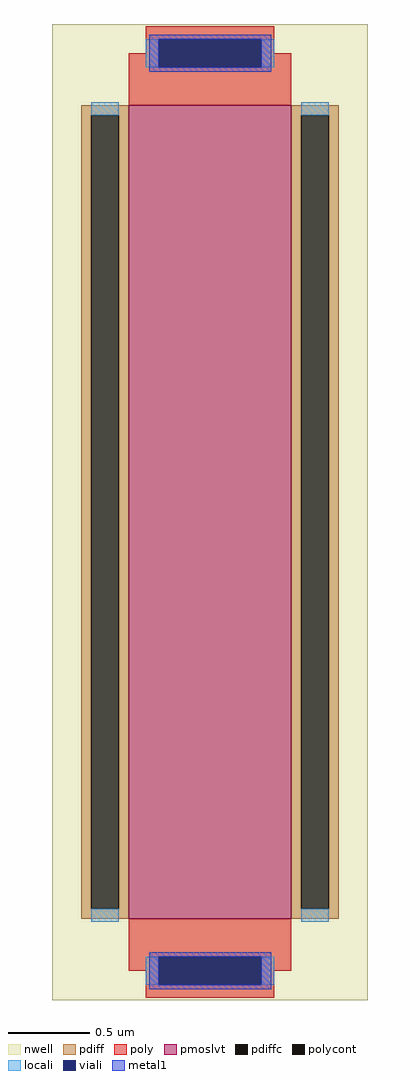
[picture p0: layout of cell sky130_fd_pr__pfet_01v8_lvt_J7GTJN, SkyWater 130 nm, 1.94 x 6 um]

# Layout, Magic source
magic
tech sky130A
magscale 1 2
<< nwell >>
rect -194 -600 194 600
<< pmoslvt >>
rect -100 -500 100 500
<< pdiff >>
rect -158 488 -100 500
rect -158 -488 -146 488
rect -112 -488 -100 488
rect -158 -500 -100 -488
rect 100 488 158 500
rect 100 -488 112 488
rect 146 -488 158 488
rect 100 -500 158 -488
<< pdiffc >>
rect -146 -488 -112 488
rect 112 -488 146 488
<< poly >>
rect -79 581 79 597
rect -79 564 -63 581
rect -100 547 -63 564
rect 63 564 79 581
rect 63 547 100 564
rect -100 500 100 547
rect -100 -547 100 -500
rect -100 -564 -63 -547
rect -79 -581 -63 -564
rect 63 -564 100 -547
rect 63 -581 79 -564
rect -79 -597 79 -581
<< polycont >>
rect -63 547 63 581
rect -63 -581 63 -547
<< locali >>
rect -79 547 -63 581
rect 63 547 79 581
rect -146 488 -112 504
rect -146 -504 -112 -488
rect 112 488 146 504
rect 112 -504 146 -488
rect -79 -581 -63 -547
rect 63 -581 79 -547
<< viali >>
rect -63 547 63 581
rect -63 -581 63 -547
<< metal1 >>
rect -75 581 75 587
rect -75 547 -63 581
rect 63 547 75 581
rect -75 541 75 547
rect -75 -547 75 -541
rect -75 -581 -63 -547
rect 63 -581 75 -547
rect -75 -587 75 -581
<< properties >>
string gencell sky130_fd_pr__pfet_01v8_lvt
string library sky130
string parameters w 5 l 1.0 m 1 nf 1 diffcov 100 polycov 75 guard 0 glc 1 grc 1 gtc 1 gbc 1 tbcov 100 rlcov 100 topc 1 botc 1 poverlap 0 doverlap 1 lmin 0.35 wmin 0.42 class mosfet compatible {sky130_fd_pr__pfet_01v8  sky130_fd_pr__pfet_01v8_lvt sky130_fd_pr__pfet_01v8_hvt  sky130_fd_pr__pfet_g5v0d10v5} full_metal 1 viasrc 0 viadrn 0 viagate 75 viagb 0 viagr 0 viagl 0 viagt 0
<< end >>
